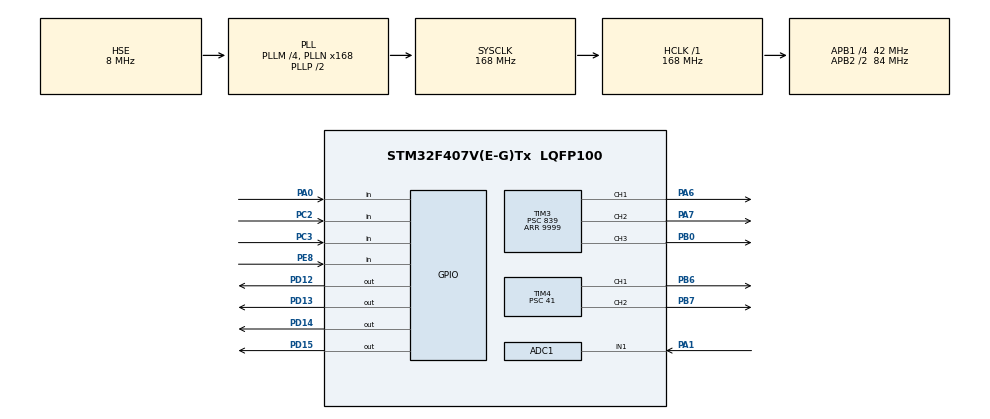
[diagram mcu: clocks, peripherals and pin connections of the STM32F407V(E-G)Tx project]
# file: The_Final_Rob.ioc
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ADC1.Channel-0\#ChannelRegularConversion=ADC_CHANNEL_1
ADC1.NbrOfConversionFlag=1
ADC1.Rank-0\#ChannelRegularConversion=1
ADC1.SamplingTime-0\#ChannelRegularConversion=ADC_SAMPLETIME_3CYCLES
ADC1.master=1
Mcu.Family=STM32F4
Mcu.Name=STM32F407V(E-G)Tx
Mcu.Package=LQFP100
NVIC.ADC_IRQn=true\:0\:0\:false\:false\:true\:true\:true
NVIC.FLASH_IRQn=true\:0\:0\:false\:false\:true\:true\:true
NVIC.FPU_IRQn=true\:0\:0\:false\:false\:true\:true\:false
NVIC.PVD_IRQn=true\:0\:0\:false\:false\:true\:true\:true
NVIC.PriorityGroup=NVIC_PRIORITYGROUP_4
NVIC.RCC_IRQn=true\:0\:0\:false\:false\:true\:true\:false
NVIC.TIM2_IRQn=true\:0\:0\:false\:false\:true\:true\:true
NVIC.TIM3_IRQn=true\:0\:0\:false\:false\:true\:true\:true
NVIC.TIM4_IRQn=true\:0\:0\:false\:false\:true\:true\:true
PA0-WKUP.GPIO_PuPd=GPIO_PULLDOWN
PA0-WKUP.Signal=GPIO_Input
PA1.Signal=ADCx_IN1
PA6.Signal=S_TIM3_CH1
PA7.Signal=S_TIM3_CH2
PB0.Signal=S_TIM3_CH3
PB6.Signal=S_TIM4_CH1
PB7.Signal=S_TIM4_CH2
PC2.GPIO_PuPd=GPIO_PULLDOWN
PC2.Signal=GPIO_Input
PC3.GPIO_PuPd=GPIO_PULLDOWN
PC3.Signal=GPIO_Input
PD12.Signal=GPIO_Output
PD13.Signal=GPIO_Output
PD14.Signal=GPIO_Output
PD15.Signal=GPIO_Output
PE8.GPIO_PuPd=GPIO_PULLDOWN
PE8.Signal=GPIO_Input
PH0-OSC_IN.Mode=HSE-External-Oscillator
PH0-OSC_IN.Signal=RCC_OSC_IN
PH1-OSC_OUT.Mode=HSE-External-Oscillator
PH1-OSC_OUT.Signal=RCC_OSC_OUT
ProjectManager.HeapSize=0x200
ProjectManager.StackSize=0x400
ProjectManager.TargetToolchain=SW4STM32
RCC.48MHZClocksFreq_Value=84000000
RCC.AHBFreq_Value=168000000
RCC.APB1CLKDivider=RCC_HCLK_DIV4
RCC.APB1Freq_Value=42000000
RCC.APB1TimFreq_Value=84000000
RCC.APB2CLKDivider=RCC_HCLK_DIV2
RCC.APB2Freq_Value=84000000
RCC.APB2TimFreq_Value=168000000
RCC.CortexFreq_Value=168000000
RCC.HCLKFreq_Value=168000000
RCC.HSE_VALUE=8000000
RCC.HSI_VALUE=16000000
RCC.LSE_VALUE=32768
RCC.PLLM=4
RCC.PLLN=168
RCC.PLLSourceVirtual=RCC_PLLSOURCE_HSE
RCC.SYSCLKFreq_VALUE=168000000
RCC.SYSCLKSource=RCC_SYSCLKSOURCE_PLLCLK
RCC.VCOOutputFreq_Value=336000000
SH.ADCx_IN1.0=ADC1_IN1,IN1
SH.S_TIM3_CH1.0=TIM3_CH1,PWM Generation1 CH1
SH.S_TIM3_CH2.0=TIM3_CH2,PWM Generation2 CH2
SH.S_TIM3_CH3.0=TIM3_CH3,PWM Generation3 CH3
SH.S_TIM4_CH1.0=TIM4_CH1,PWM Generation1 CH1
SH.S_TIM4_CH2.0=TIM4_CH2,PWM Generation2 CH2
TIM2.Period=39
TIM2.Prescaler=20
TIM3.Channel-PWM\ Generation1\ CH1=TIM_CHANNEL_1
TIM3.Channel-PWM\ Generation2\ CH2=TIM_CHANNEL_2
TIM3.Channel-PWM\ Generation3\ CH3=TIM_CHANNEL_3
TIM3.Period=9999
TIM3.Prescaler=839
TIM4.Channel-PWM\ Generation1\ CH1=TIM_CHANNEL_1
TIM4.Channel-PWM\ Generation2\ CH2=TIM_CHANNEL_2
TIM4.Period=1999
TIM4.Prescaler=41
VP_TIM2_VS_ClockSourceINT.Mode=Internal
VP_TIM3_VS_ClockSourceINT.Mode=Internal
VP_TIM4_VS_ClockSourceINT.Mode=Internal
board=custom

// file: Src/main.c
/* USER CODE BEGIN Header */
/**
 ******************************************************************************
 * @file           : main.c
 * @brief          : Main program body
 ******************************************************************************
 * @attention
 *
 * <h2><center>&copy; Copyright (c) 2019 STMicroelectronics.
 * All rights reserved.</center></h2>
 *
 * This software component is licensed by ST under BSD 3-Clause license,
 * the "License"; You may not use this file except in compliance with the
 * License. You may obtain a copy of the License at:
 *                        opensource.org/licenses/BSD-3-Clause
 *
 ******************************************************************************
 */
/* USER CODE END Header */

#include "main.h"

ADC_HandleTypeDef hadc1;

TIM_HandleTypeDef htim2;
TIM_HandleTypeDef htim3;
TIM_HandleTypeDef htim4;

/* USER CODE BEGIN PV */

//
volatile uint16_t value;
volatile int czas = 0;
volatile int meta = 0;
//
volatile int rozkaz = 0;
volatile int pwma = 0;
volatile int pwmb = 0;
//
volatile int znacznik = 0;
volatile int koniec = 2;
//
volatile int values = 0;
volatile int temp = 0;
//
volatile int echof = 0;
volatile int echol = 0;
volatile int echor = 0;
volatile long clocks = 0;
volatile int tempf1 = 0;
volatile int tempf2 = 0;
volatile int templ1 = 0;
volatile int templ2 = 0;
volatile int tempr1 = 0;
volatile int tempr2 = 0;
volatile int distancef = 0;
volatile int distancel = 0;
volatile int distancer = 0;
/* USER CODE END PV */

void SystemClock_Config(void);
static void MX_GPIO_Init(void);
static void MX_ADC1_Init(void);
static void MX_TIM2_Init(void);
static void MX_TIM3_Init(void);
static void MX_TIM4_Init(void);
/* USER CODE BEGIN PFP */
void HAL_TIM_PeriodElapsedCallback(TIM_HandleTypeDef *htim){
	if(htim->Instance == TIM2)
	{
		clocks++;
	}
	if(htim->Instance == TIM3)
	{
		znacznik++;
		if(znacznik == 3)
		{
			znacznik = 0;
			if(distancel >8 && temp == 1) TIM4->CCR2-= 70;
			if(distancel <8 && temp == 1) TIM4->CCR2+= 70;
			if( TIM4->CCR2 > 1599) TIM4->CCR2=1599;
			if( TIM4->CCR2 < 1299) TIM4->CCR2=1299;
			if( TIM4->CCR2 < 1499  && distancel <8)  TIM4->CCR2 = 1499;
			if( TIM4->CCR2 > 1499 && distancel >8)  TIM4->CCR2 = 1499;

		}

	}
}
/* USER CODE END PFP */

/* USER CODE BEGIN 0 */
void lewo()
{
	HAL_GPIO_WritePin(GPIOD, GPIO_PIN_12 | GPIO_PIN_13 | GPIO_PIN_14 | GPIO_PIN_15, GPIO_PIN_RESET);
	HAL_Delay(100);
	HAL_GPIO_WritePin(GPIOD, GPIO_PIN_13 | GPIO_PIN_14,GPIO_PIN_SET);
	TIM4->CCR1 = 1499;
	TIM4->CCR2 = 1499;
	HAL_Delay(800);
	rozkaz = 2;
}

void prawo()
{
	HAL_GPIO_WritePin(GPIOD, GPIO_PIN_12 | GPIO_PIN_13 | GPIO_PIN_14 | GPIO_PIN_15, GPIO_PIN_RESET);
	HAL_Delay(100);
	HAL_GPIO_WritePin(GPIOD, GPIO_PIN_12 | GPIO_PIN_15,GPIO_PIN_SET);
	TIM4->CCR1 = 1499;
	TIM4->CCR2 = 1499;
	HAL_Delay(800);
	rozkaz = 1;
}

void przod()
{
	HAL_GPIO_WritePin(GPIOD, GPIO_PIN_12 | GPIO_PIN_13 | GPIO_PIN_14 | GPIO_PIN_15, GPIO_PIN_RESET);
	HAL_Delay(100);
	HAL_GPIO_WritePin(GPIOD, GPIO_PIN_13 | GPIO_PIN_15,GPIO_PIN_SET);
	TIM4->CCR1 = 1499; // prawe 1729
	TIM4->CCR2 = 1499; // lewe 1999
	rozkaz = 0;
}
/* USER CODE END 0 */

int main(void)
{

	/* MCU Configuration--------------------------------------------------------*/

	/* Reset of all peripherals, Initializes the Flash interface and the Systick. */
	HAL_Init();

	/* Configure the system clock */
	SystemClock_Config();

	/* Initialize all configured peripherals */
	MX_GPIO_Init();
	MX_ADC1_Init();
	MX_TIM2_Init();
	MX_TIM3_Init();
	MX_TIM4_Init();
	/* USER CODE BEGIN 2 */
	HAL_TIM_Base_Start_IT(&htim4);
	HAL_TIM_PWM_Start(&htim4, TIM_CHANNEL_1);
	HAL_TIM_PWM_Start(&htim4, TIM_CHANNEL_2);
	HAL_GPIO_WritePin(GPIOC, GPIO_PIN_0 | GPIO_PIN_1, GPIO_PIN_SET);
	HAL_GPIO_WritePin(GPIOE, GPIO_PIN_7, GPIO_PIN_SET);
	TIM4->CCR1 = 1499; // prawe 1729
	TIM4->CCR2 = 1499; // lewe 1999
	//

	HAL_TIM_Base_Start_IT(&htim2);
	HAL_TIM_Base_Start_IT(&htim3);
	HAL_TIM_PWM_Start(&htim3, TIM_CHANNEL_1);
	HAL_TIM_PWM_Start(&htim3, TIM_CHANNEL_2);
	HAL_TIM_PWM_Start(&htim3, TIM_CHANNEL_3);
	TIM3->CCR1 = 1;
	TIM3->CCR2 = 1;
	TIM3->CCR3 = 1;
	/* USER CODE END 2 */

	/* Infinite loop */
	/* USER CODE BEGIN WHILE */
	while (1)
	{
		HAL_ADC_Start(&hadc1);
		pwma = TIM4->CCR1;
		pwmb = TIM4->CCR2;
		values = HAL_GPIO_ReadPin(GPIOA, GPIO_PIN_0);
		if(temp == 0)
		{
			if(values==1)
			{
				HAL_GPIO_WritePin(GPIOD, GPIO_PIN_13 | GPIO_PIN_15,GPIO_PIN_SET);
				HAL_GPIO_WritePin(GPIOD, GPIO_PIN_12 | GPIO_PIN_14,GPIO_PIN_RESET);

				koniec = 0;
				temp = 1;
			}
		}

		// implementacja czujnika przedniego
		if(znacznik == 0)
			echof = HAL_GPIO_ReadPin(GPIOC, GPIO_PIN_2);
		if (echof == 1 && tempf1 == 0)
		{
			tempf1 = 1;
			tempf2 = clocks;

		}
		if (echof == 0 && tempf1 == 1)
		{
			tempf1 = 0;
			distancef = (clocks - tempf2)*34/200;
			if (distancef >200) distancef = 201;
			if (distancef <2) distancef = 1;

		}
		// implementacja czujnika lewego
		if(znacznik == 1)
			echol = HAL_GPIO_ReadPin(GPIOC, GPIO_PIN_3);
		if (echol == 1 && templ1 == 0)
		{
			templ1 = 1;
			templ2 = clocks;

		}
		if (echol == 0 && templ1 == 1)
		{
			templ1 = 0;
			distancel = (clocks - templ2)*34/200;
			if (distancel >200) distancel = 201;
			if (distancel<2) distancel = 1;

		}
		// implementacja czujnika prawego
		if(znacznik == 2)
			echor = HAL_GPIO_ReadPin(GPIOE, GPIO_PIN_8);
		if (echor == 1 && tempr1 == 0)
		{
			tempr1 = 1;
			tempr2 = clocks;

		}
		if (echor == 0 && tempr1 == 1)
		{
			tempr1 = 0;
			distancer = (clocks - tempr2)*34/200;
			if (distancer >200) distancer = 201;
			if (distancer <2) distancer = 1;

		}

		if(distancef >= 5 && clocks > 10000 && rozkaz !=0 && koniec == 0)
		{
			przod();
		}
		if(distancef <5 && clocks > 10000 && rozkaz !=1 && koniec == 0)
		{
			prawo();
		}
		if(HAL_ADC_PollForConversion(&hadc1, 10) == HAL_OK && meta ==0)
		{
			value = HAL_ADC_GetValue(&hadc1);
			if(value<3000)
				czas = clocks + 5000;
			if(czas < clocks)
			{
				HAL_GPIO_WritePin(GPIOD, GPIO_PIN_12 | GPIO_PIN_13 | GPIO_PIN_14 | GPIO_PIN_15, GPIO_PIN_RESET);
				koniec =1;
			}
		}
		/* USER CODE END WHILE */

	}
}

void SystemClock_Config(void)
{
	RCC_OscInitTypeDef RCC_OscInitStruct = {0};
	RCC_ClkInitTypeDef RCC_ClkInitStruct = {0};

	/** Configure the main internal regulator output voltage
	 */
	__HAL_RCC_PWR_CLK_ENABLE();
	__HAL_PWR_VOLTAGESCALING_CONFIG(PWR_REGULATOR_VOLTAGE_SCALE1);
	/** Initializes the CPU, AHB and APB busses clocks
	 */
	RCC_OscInitStruct.OscillatorType = RCC_OSCILLATORTYPE_HSE;
	RCC_OscInitStruct.HSEState = RCC_HSE_ON;
	RCC_OscInitStruct.PLL.PLLState = RCC_PLL_ON;
	RCC_OscInitStruct.PLL.PLLSource = RCC_PLLSOURCE_HSE;
	RCC_OscInitStruct.PLL.PLLM = 4;
	RCC_OscInitStruct.PLL.PLLN = 168;
	RCC_OscInitStruct.PLL.PLLP = RCC_PLLP_DIV2;
	RCC_OscInitStruct.PLL.PLLQ = 4;
	if (HAL_RCC_OscConfig(&RCC_OscInitStruct) != HAL_OK)
	{
		Error_Handler();
	}
	/** Initializes the CPU, AHB and APB busses clocks
	 */
	RCC_ClkInitStruct.ClockType = RCC_CLOCKTYPE_HCLK|RCC_CLOCKTYPE_SYSCLK
			|RCC_CLOCKTYPE_PCLK1|RCC_CLOCKTYPE_PCLK2;
	RCC_ClkInitStruct.SYSCLKSource = RCC_SYSCLKSOURCE_PLLCLK;
	RCC_ClkInitStruct.AHBCLKDivider = RCC_SYSCLK_DIV1;
	RCC_ClkInitStruct.APB1CLKDivider = RCC_HCLK_DIV4;
	RCC_ClkInitStruct.APB2CLKDivider = RCC_HCLK_DIV2;

	if (HAL_RCC_ClockConfig(&RCC_ClkInitStruct, FLASH_LATENCY_5) != HAL_OK)
	{
		Error_Handler();
	}
}

static void MX_ADC1_Init(void)
{

	ADC_ChannelConfTypeDef sConfig = {0};

	/** Configure the global features of the ADC (Clock, Resolution, Data Alignment and number of conversion)
	 */
	hadc1.Instance = ADC1;
	hadc1.Init.ClockPrescaler = ADC_CLOCK_SYNC_PCLK_DIV4;
	hadc1.Init.Resolution = ADC_RESOLUTION_12B;
	hadc1.Init.ScanConvMode = DISABLE;
	hadc1.Init.ContinuousConvMode = DISABLE;
	hadc1.Init.DiscontinuousConvMode = DISABLE;
	hadc1.Init.ExternalTrigConvEdge = ADC_EXTERNALTRIGCONVEDGE_NONE;
	hadc1.Init.ExternalTrigConv = ADC_SOFTWARE_START;
	hadc1.Init.DataAlign = ADC_DATAALIGN_RIGHT;
	hadc1.Init.NbrOfConversion = 1;
	hadc1.Init.DMAContinuousRequests = DISABLE;
	hadc1.Init.EOCSelection = ADC_EOC_SINGLE_CONV;
	if (HAL_ADC_Init(&hadc1) != HAL_OK)
	{
		Error_Handler();
	}
	/** Configure for the selected ADC regular channel its corresponding rank in the sequencer and its sample time.
	 */
	sConfig.Channel = ADC_CHANNEL_1;
	sConfig.Rank = 1;
	sConfig.SamplingTime = ADC_SAMPLETIME_3CYCLES;
	if (HAL_ADC_ConfigChannel(&hadc1, &sConfig) != HAL_OK)
	{
		Error_Handler();
	}

}

static void MX_TIM2_Init(void)
{

	TIM_ClockConfigTypeDef sClockSourceConfig = {0};
	TIM_MasterConfigTypeDef sMasterConfig = {0};

	htim2.Instance = TIM2;
	htim2.Init.Prescaler = 20;
	htim2.Init.CounterMode = TIM_COUNTERMODE_UP;
	htim2.Init.Period = 39;
	htim2.Init.ClockDivision = TIM_CLOCKDIVISION_DIV1;
	htim2.Init.AutoReloadPreload = TIM_AUTORELOAD_PRELOAD_DISABLE;
	if (HAL_TIM_Base_Init(&htim2) != HAL_OK)
	{
		Error_Handler();
	}
	sClockSourceConfig.ClockSource = TIM_CLOCKSOURCE_INTERNAL;
	if (HAL_TIM_ConfigClockSource(&htim2, &sClockSourceConfig) != HAL_OK)
	{
		Error_Handler();
	}
	sMasterConfig.MasterOutputTrigger = TIM_TRGO_RESET;
	sMasterConfig.MasterSlaveMode = TIM_MASTERSLAVEMODE_DISABLE;
	if (HAL_TIMEx_MasterConfigSynchronization(&htim2, &sMasterConfig) != HAL_OK)
	{
		Error_Handler();
	}

}

static void MX_TIM3_Init(void)
{

	TIM_ClockConfigTypeDef sClockSourceConfig = {0};
	TIM_MasterConfigTypeDef sMasterConfig = {0};
	TIM_OC_InitTypeDef sConfigOC = {0};

	htim3.Instance = TIM3;
	htim3.Init.Prescaler = 839;
	htim3.Init.CounterMode = TIM_COUNTERMODE_UP;
	htim3.Init.Period = 9999;
	htim3.Init.ClockDivision = TIM_CLOCKDIVISION_DIV1;
	htim3.Init.AutoReloadPreload = TIM_AUTORELOAD_PRELOAD_DISABLE;
	if (HAL_TIM_Base_Init(&htim3) != HAL_OK)
	{
		Error_Handler();
	}
	sClockSourceConfig.ClockSource = TIM_CLOCKSOURCE_INTERNAL;
	if (HAL_TIM_ConfigClockSource(&htim3, &sClockSourceConfig) != HAL_OK)
	{
		Error_Handler();
	}
	if (HAL_TIM_PWM_Init(&htim3) != HAL_OK)
	{
		Error_Handler();
	}
	sMasterConfig.MasterOutputTrigger = TIM_TRGO_RESET;
	sMasterConfig.MasterSlaveMode = TIM_MASTERSLAVEMODE_DISABLE;
	if (HAL_TIMEx_MasterConfigSynchronization(&htim3, &sMasterConfig) != HAL_OK)
	{
		Error_Handler();
	}
	sConfigOC.OCMode = TIM_OCMODE_PWM1;
	sConfigOC.Pulse = 0;
	sConfigOC.OCPolarity = TIM_OCPOLARITY_HIGH;
	sConfigOC.OCFastMode = TIM_OCFAST_DISABLE;
	if (HAL_TIM_PWM_ConfigChannel(&htim3, &sConfigOC, TIM_CHANNEL_1) != HAL_OK)
	{
		Error_Handler();
	}
	if (HAL_TIM_PWM_ConfigChannel(&htim3, &sConfigOC, TIM_CHANNEL_2) != HAL_OK)
	{
		Error_Handler();
	}
	if (HAL_TIM_PWM_ConfigChannel(&htim3, &sConfigOC, TIM_CHANNEL_3) != HAL_OK)
	{
		Error_Handler();
	}
	HAL_TIM_MspPostInit(&htim3);

}

static void MX_TIM4_Init(void)
{

	TIM_ClockConfigTypeDef sClockSourceConfig = {0};
	TIM_MasterConfigTypeDef sMasterConfig = {0};
	TIM_OC_InitTypeDef sConfigOC = {0};

	htim4.Instance = TIM4;
	htim4.Init.Prescaler = 41;
	htim4.Init.CounterMode = TIM_COUNTERMODE_UP;
	htim4.Init.Period = 1999;
	htim4.Init.ClockDivision = TIM_CLOCKDIVISION_DIV1;
	htim4.Init.AutoReloadPreload = TIM_AUTORELOAD_PRELOAD_DISABLE;
	if (HAL_TIM_Base_Init(&htim4) != HAL_OK)
	{
		Error_Handler();
	}
	sClockSourceConfig.ClockSource = TIM_CLOCKSOURCE_INTERNAL;
	if (HAL_TIM_ConfigClockSource(&htim4, &sClockSourceConfig) != HAL_OK)
	{
		Error_Handler();
	}
	if (HAL_TIM_PWM_Init(&htim4) != HAL_OK)
	{
		Error_Handler();
	}
	sMasterConfig.MasterOutputTrigger = TIM_TRGO_RESET;
	sMasterConfig.MasterSlaveMode = TIM_MASTERSLAVEMODE_DISABLE;
	if (HAL_TIMEx_MasterConfigSynchronization(&htim4, &sMasterConfig) != HAL_OK)
	{
		Error_Handler();
	}
	sConfigOC.OCMode = TIM_OCMODE_PWM1;
	sConfigOC.Pulse = 0;
	sConfigOC.OCPolarity = TIM_OCPOLARITY_HIGH;
	sConfigOC.OCFastMode = TIM_OCFAST_DISABLE;
	if (HAL_TIM_PWM_ConfigChannel(&htim4, &sConfigOC, TIM_CHANNEL_1) != HAL_OK)
	{
		Error_Handler();
	}
	if (HAL_TIM_PWM_ConfigChannel(&htim4, &sConfigOC, TIM_CHANNEL_2) != HAL_OK)
	{
		Error_Handler();
	}
	HAL_TIM_MspPostInit(&htim4);

}

static void MX_GPIO_Init(void)
{
	GPIO_InitTypeDef GPIO_InitStruct = {0};

	/* GPIO Ports Clock Enable */
	__HAL_RCC_GPIOH_CLK_ENABLE();
	__HAL_RCC_GPIOC_CLK_ENABLE();
	__HAL_RCC_GPIOA_CLK_ENABLE();
	__HAL_RCC_GPIOB_CLK_ENABLE();
	__HAL_RCC_GPIOE_CLK_ENABLE();
	__HAL_RCC_GPIOD_CLK_ENABLE();

	/*Configure GPIO pin Output Level */
	HAL_GPIO_WritePin(GPIOD, GPIO_PIN_12|GPIO_PIN_13|GPIO_PIN_14|GPIO_PIN_15, GPIO_PIN_RESET);

	/*Configure GPIO pins : PC2 PC3 */
	GPIO_InitStruct.Pin = GPIO_PIN_2|GPIO_PIN_3;
	GPIO_InitStruct.Mode = GPIO_MODE_INPUT;
	GPIO_InitStruct.Pull = GPIO_PULLDOWN;
	HAL_GPIO_Init(GPIOC, &GPIO_InitStruct);

	/*Configure GPIO pin : PA0 */
	GPIO_InitStruct.Pin = GPIO_PIN_0;
	GPIO_InitStruct.Mode = GPIO_MODE_INPUT;
	GPIO_InitStruct.Pull = GPIO_PULLDOWN;
	HAL_GPIO_Init(GPIOA, &GPIO_InitStruct);

	/*Configure GPIO pin : PE8 */
	GPIO_InitStruct.Pin = GPIO_PIN_8;
	GPIO_InitStruct.Mode = GPIO_MODE_INPUT;
	GPIO_InitStruct.Pull = GPIO_PULLDOWN;
	HAL_GPIO_Init(GPIOE, &GPIO_InitStruct);

	/*Configure GPIO pins : PD12 PD13 PD14 PD15 */
	GPIO_InitStruct.Pin = GPIO_PIN_12|GPIO_PIN_13|GPIO_PIN_14|GPIO_PIN_15;
	GPIO_InitStruct.Mode = GPIO_MODE_OUTPUT_PP;
	GPIO_InitStruct.Pull = GPIO_NOPULL;
	GPIO_InitStruct.Speed = GPIO_SPEED_FREQ_LOW;
	HAL_GPIO_Init(GPIOD, &GPIO_InitStruct);

}

void Error_Handler(void)
{
}

/************************ (C) COPYRIGHT STMicroelectronics *****END OF FILE****/
